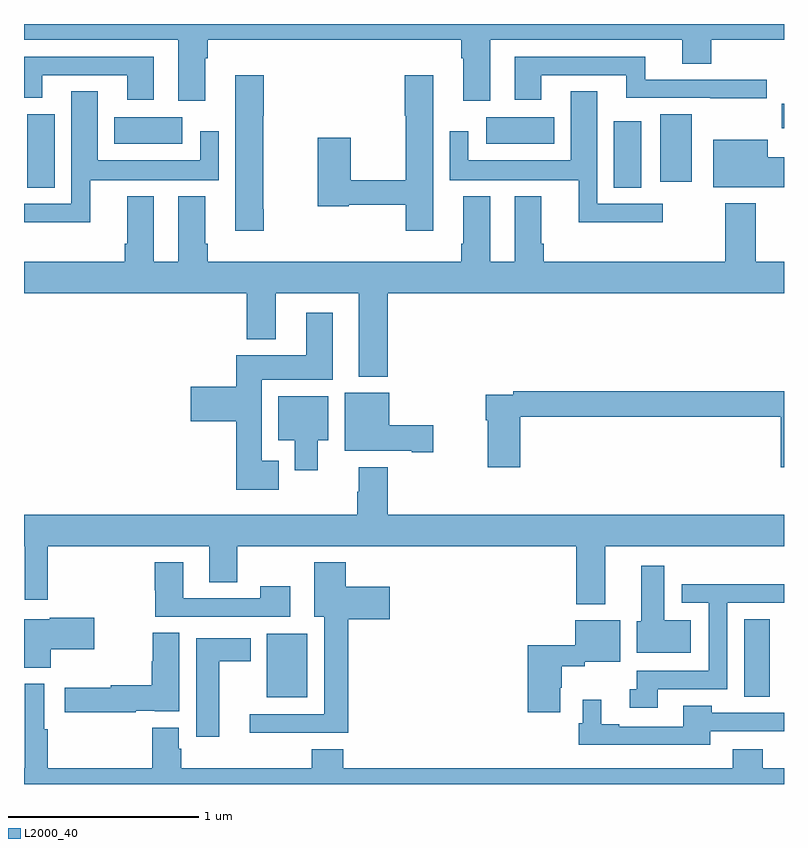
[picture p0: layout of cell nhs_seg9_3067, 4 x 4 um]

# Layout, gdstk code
import gdstk
lib = gdstk.Library(unit=1e-6, precision=1e-09)
def R(c, l, rs):  # rectangles x0, y0, x1, y1
    for r in rs: c.add(gdstk.rectangle(r[:2], r[2:], *l))
def P(c, l, *ps):  # polygons
    for p in ps: c.add(gdstk.Polygon(p, *l))
L2000_40 = (2000, 40)

nhs_seg9_3067 = lib.new_cell('nhs_seg9_3067')
R(nhs_seg9_3067, L2000_40, [(288.278,1196.957,288.49,1197.292), (290.792,1196.959,290.926,1197.368), (287.018,1199.638,287.161,1200.026), (290.105,1199.638,290.248,1199.989), (290.348,1199.67,290.515,1200.026), (287.474,1199.87,287.833,1200.01), (289.434,1199.87,289.792,1200.01), (290.988,1199.951,291,1200.08)])
P(nhs_seg9_3067, L2000_40, [(287.953,1200.32),(287.966,1200.32),(287.966,1200.416),(289.301,1200.416),(289.301,1200.32),(289.313,1200.32),(289.313,1200.096),(289.453,1200.096),(289.453,1200.416),(290.465,1200.416),(290.465,1200.292),(290.618,1200.292),(290.618,1200.416),(291,1200.416),(291,1200.5),(287,1200.5),(287,1200.416),(287.813,1200.416),(287.813,1200.096),(287.953,1200.096)],
  [(289.723,1200.231),(290.171,1200.231),(290.171,1200.111),(290.611,1200.111),(290.611,1200.109),(290.908,1200.109),(290.908,1200.207),(290.27,1200.207),(290.27,1200.327),(289.583,1200.327),(289.583,1200.102),(289.723,1200.102)],
  [(287.683,1200.327),(287,1200.327),(287,1200.111),(287.095,1200.111),(287.095,1200.231),(287.543,1200.231),(287.543,1200.102),(287.683,1200.102)],
  [(288.263,1199.524),(288.258,1199.524),(288.258,1200.016),(288.263,1200.016),(288.263,1200.229),(288.113,1200.229),(288.113,1199.412),(288.263,1199.412)],
  [(289.153,1200.229),(289.004,1200.229),(289.004,1200.016),(289.009,1200.016),(289.009,1199.678),(288.72,1199.678),(288.72,1199.902),(288.547,1199.902),(288.547,1199.542),(288.708,1199.542),(288.708,1199.55),(289.009,1199.55),(289.009,1199.412),(289.153,1199.412)],
  [(287.348,1199.678),(288.024,1199.678),(288.024,1199.935),(287.928,1199.935),(287.928,1199.782),(287.389,1199.782),(287.389,1200.146),(287.249,1200.146),(287.249,1199.553),(287,1199.553),(287,1199.456),(287.348,1199.456)],
  [(290.362,1199.553),(290.017,1199.553),(290.017,1200.146),(289.877,1200.146),(289.877,1199.782),(289.338,1199.782),(289.338,1199.935),(289.242,1199.935),(289.242,1199.678),(289.919,1199.678),(289.919,1199.456),(290.362,1199.456)],
  [(291,1199.8),(290.914,1199.8),(290.914,1199.89),(290.627,1199.89),(290.627,1199.642),(291,1199.642)],
  [(289.583,1199.593),(289.583,1199.248),(289.453,1199.248),(289.453,1199.593),(289.313,1199.593),(289.313,1199.344),(289.301,1199.344),(289.301,1199.248),(287.966,1199.248),(287.966,1199.344),(287.953,1199.344),(287.953,1199.593),(287.813,1199.593),(287.813,1199.248),(287.683,1199.248),(287.683,1199.593),(287.543,1199.593),(287.543,1199.344),(287.531,1199.344),(287.531,1199.248),(287,1199.248),(287,1199.084),(288.173,1199.084),(288.173,1198.841),(288.325,1198.841),(288.325,1199.084),(288.761,1199.084),(288.761,1198.643),(288.914,1198.643),(288.914,1199.084),(291,1199.084),(291,1199.248),(290.852,1199.248),(290.852,1199.557),(290.692,1199.557),(290.692,1199.248),(289.736,1199.248),(289.736,1199.344),(289.723,1199.344),(289.723,1199.593)],
  [(288.34,1198.201),(288.25,1198.201),(288.25,1198.628),(288.625,1198.628),(288.625,1198.981),(288.485,1198.981),(288.485,1198.756),(288.116,1198.756),(288.116,1198.592),(287.877,1198.592),(287.877,1198.409),(288.116,1198.409),(288.116,1198.049),(288.34,1198.049)],
  [(289.613,1198.432),(290.984,1198.432),(290.984,1198.167),(291,1198.167),(291,1198.568),(289.576,1198.568),(289.576,1198.548),(289.43,1198.548),(289.43,1198.415),(289.442,1198.415),(289.442,1198.167),(289.613,1198.167)],
  [(289.153,1198.388),(288.922,1198.388),(288.922,1198.558),(288.689,1198.558),(288.689,1198.253),(289.04,1198.253),(289.04,1198.246),(289.153,1198.246)],
  [(288.547,1198.31),(288.601,1198.31),(288.601,1198.54),(288.338,1198.54),(288.338,1198.31),(288.425,1198.31),(288.425,1198.152),(288.547,1198.152)],
  [(290.059,1197.752),(291,1197.752),(291,1197.916),(288.914,1197.916),(288.914,1198.168),(288.761,1198.168),(288.761,1198.037),(288.754,1198.037),(288.754,1197.916),(287,1197.916),(287,1197.752),(287.003,1197.752),(287.003,1197.471),(287.125,1197.471),(287.125,1197.752),(287.975,1197.752),(287.975,1197.562),(288.123,1197.562),(288.123,1197.752),(289.907,1197.752),(289.907,1197.447),(290.059,1197.447)],
  [(288.707,1197.368),(288.925,1197.368),(288.925,1197.538),(288.694,1197.538),(288.694,1197.667),(288.527,1197.667),(288.527,1197.38),(288.581,1197.38),(288.581,1196.868),(288.189,1196.868),(288.189,1196.771),(288.707,1196.771)],
  [(288.4,1197.541),(288.244,1197.541),(288.244,1197.477),(287.839,1197.477),(287.839,1197.667),(287.687,1197.667),(287.687,1197.519),(287.692,1197.519),(287.692,1197.381),(288.4,1197.381)],
  [(290.509,1197.361),(290.371,1197.361),(290.371,1197.649),(290.249,1197.649),(290.249,1197.357),(290.225,1197.357),(290.225,1197.191),(290.509,1197.191)],
  [(290.335,1197),(290.7,1197),(290.7,1197.453),(291,1197.453),(291,1197.551),(290.463,1197.551),(290.463,1197.453),(290.604,1197.453),(290.604,1197.096),(290.226,1197.096),(290.226,1196.999),(290.187,1196.999),(290.187,1196.901),(290.335,1196.901)],
  [(287.14,1197.209),(287.371,1197.209),(287.371,1197.375),(287.136,1197.375),(287.136,1197.367),(287,1197.367),(287,1197.113),(287.14,1197.113)],
  [(289.822,1197.006),(289.83,1197.006),(289.83,1197.119),(289.95,1197.119),(289.95,1197.144),(290.137,1197.144),(290.137,1197.361),(289.901,1197.361),(289.901,1197.229),(289.652,1197.229),(289.652,1196.877),(289.822,1196.877)],
  [(287.588,1196.885),(287.688,1196.885),(287.688,1196.882),(287.818,1196.882),(287.818,1197.296),(287.677,1197.296),(287.677,1197.146),(287.672,1197.146),(287.672,1197.02),(287.457,1197.02),(287.457,1197.007),(287.214,1197.007),(287.214,1196.878),(287.588,1196.878)],
  [(288.028,1197.146),(288.193,1197.146),(288.193,1197.268),(287.906,1197.268),(287.906,1196.748),(288.028,1196.748)],
  [(291,1196.584),(290.889,1196.584),(290.889,1196.683),(290.729,1196.683),(290.729,1196.584),(288.68,1196.584),(288.68,1196.683),(288.515,1196.683),(288.515,1196.584),(287.828,1196.584),(287.828,1196.685),(287.815,1196.685),(287.815,1196.797),(287.675,1196.797),(287.675,1196.584),(287.125,1196.584),(287.125,1196.789),(287.107,1196.789),(287.107,1197.028),(287.003,1197.028),(287.003,1196.584),(287,1196.584),(287,1196.5),(291,1196.5)],
  [(290.611,1196.778),(291,1196.778),(291,1196.874),(290.619,1196.874),(290.619,1196.911),(290.471,1196.911),(290.471,1196.802),(290.134,1196.802),(290.134,1196.815),(290.038,1196.815),(290.038,1196.944),(289.941,1196.944),(289.941,1196.82),(289.921,1196.82),(289.921,1196.706),(290.611,1196.706)])

lib.write_gds('nhs_seg9_3067.gds')
